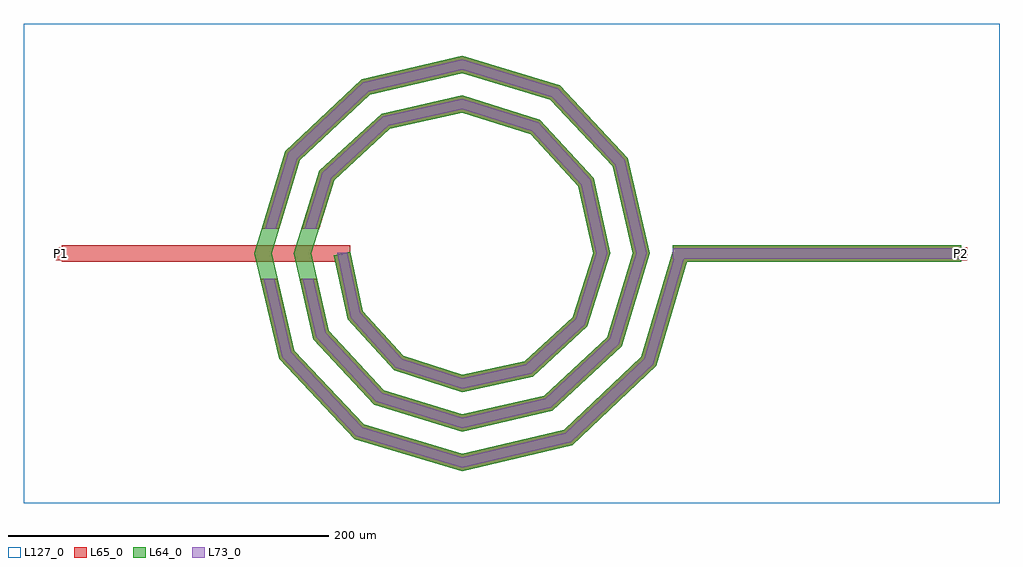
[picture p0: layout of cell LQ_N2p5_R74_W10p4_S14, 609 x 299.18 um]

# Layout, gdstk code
import gdstk
lib = gdstk.Library(unit=1e-6, precision=1e-09)
def R(c, l, rs):  # rectangles x0, y0, x1, y1
    for r in rs: c.add(gdstk.rectangle(r[:2], r[2:], *l))
def P(c, l, *ps):  # polygons
    for p in ps: c.add(gdstk.Polygon(p, *l))
L64_0 = (64, 0)
L65_0 = (65, 0)
L73_0 = (73, 0)
L127_0 = (127, 0)

lq_n2p5_r74_w10p4_s14 = lib.new_cell('LQ_N2p5_R74_W10p4_S14')
R(lq_n2p5_r74_w10p4_s14, L64_0, [(131.35,-5.2,311.35,5.2)])
P(lq_n2p5_r74_w10p4_s14, L64_0, [(-61.811,-35.997),(-36.566,-63.857),(0.255,-75.641),(39.064,-67.164),(69.191,-39.667),(81.811,0.237),(72.516,42.134),(42.766,74.525),(0.221,87.98),(-45.206,77.866),(-79.861,45.863),(-94.15,0.207),(-83.216,-48.279),(-48.959,-85.198),(0.195,-100.32),(51.354,-88.564),(90.535,-52.053),(106.489,0.185),(93.913,54.43),(55.147,95.874),(0.175,112.659),(-57.507,99.261),(-101.212,58.24),(-118.829,0.166),(-104.608,-60.584),(-61.332,-106.551),(0.158,-124.999),(63.663,-109.955),(111.891,-64.423),(131.567,1.488),(141.533,-1.488),(121.058,-70.07),(68.774,-119.432),(0.158,-135.762),(-66.992,-115.711),(-114.092,-65.682),(-129.591,0.166),(-110.364,63.914),(-62.59,108.753),(0.175,123.421),(60.836,105.015),(103.414,59.497),(117.251,0.185),(99.667,-57.76),(56.403,-98.075),(0.195,-111.08),(-54.684,-94.318),(-92.737,-53.307),(-104.91,0.207),(-88.967,51.61),(-50.211,87.4),(0.221,98.739),(48.537,83.616),(82.064,47.112),(92.569,0.237),(78.264,-45.466),(44.012,-76.728),(0.255,-86.398),(-42.397,-72.911),(-71.394,-40.91),(-79.934,-1.09),(-69.765,1.09)])
R(lq_n2p5_r74_w10p4_s14, L65_0, [(-249.65,-5.2,-69.65,5.2), (131.35,-5.2,311.35,5.2), (-253.65,-4,-245.65,4), (307.35,-4,315.35,4)])
P(lq_n2p5_r74_w10p4_s14, L65_0, [(-104.608,-60.584),(-61.332,-106.551),(0.158,-124.999),(63.663,-109.955),(111.891,-64.423),(131.567,1.488),(141.533,-1.488),(121.059,-70.071),(68.774,-119.432),(0.158,-135.762),(-66.992,-115.711),(-114.092,-65.682),(-125.88,-15.6),(-115.196,-15.6)],
  [(-83.216,-48.279),(-48.959,-85.198),(0.195,-100.32),(51.354,-88.564),(90.535,-52.054),(106.489,0.185),(93.913,54.43),(55.147,95.874),(0.175,112.659),(-57.507,99.261),(-101.212,58.24),(-114.073,15.6),(-124.936,15.6),(-110.364,63.914),(-62.59,108.753),(0.175,123.421),(60.836,105.016),(103.414,59.497),(117.251,0.185),(99.667,-57.76),(56.403,-98.075),(0.195,-111.08),(-54.684,-94.318),(-92.738,-53.307),(-101.314,-15.6),(-90.649,-15.6)],
  [(-36.566,-63.857),(0.255,-75.642),(39.064,-67.164),(69.191,-39.667),(81.811,0.237),(72.516,42.134),(42.766,74.525),(0.221,87.98),(-45.206,77.866),(-79.861,45.863),(-89.247,15.6),(-100.136,15.6),(-88.967,51.61),(-50.211,87.4),(0.221,98.739),(48.537,83.616),(82.064,47.113),(92.569,0.237),(78.264,-45.466),(44.012,-76.729),(0.255,-86.398),(-42.397,-72.911),(-71.394,-40.91),(-79.934,-1.09),(-69.765,1.09),(-61.811,-35.997)])
R(lq_n2p5_r74_w10p4_s14, L73_0, [(131.35,-3.2,311.35,3.2)])
P(lq_n2p5_r74_w10p4_s14, L73_0, [(-106.432,-61.565),(-62.42,-108.313),(0.098,-127.068),(64.646,-111.778),(113.654,-65.509),(133.484,0.915),(139.616,0.915),(119.296,-68.984),(67.791,-117.61),(0.098,-133.692),(-65.903,-113.95),(-112.268,-64.702),(-123.826,-15.6),(-117.251,-15.6)],
  [(-85.047,-49.246),(-50.06,-86.952),(0.12,-102.389),(52.325,-90.394),(92.291,-53.151),(108.559,0.114),(95.74,55.404),(56.241,97.632),(0.108,114.729),(-58.484,101.086),(-102.972,59.331),(-116.162,15.6),(-122.847,15.6),(-108.604,62.823),(-61.612,106.928),(0.108,121.351),(59.742,103.257),(101.587,58.522),(115.181,0.114),(97.911,-56.662),(55.432,-96.246),(0.12,-109.011),(-53.583,-92.564),(-90.906,-52.34),(-99.263,-15.6),(-92.7,-15.6)],
  [(-37.687,-65.598),(0.157,-77.71),(40.016,-69.003),(70.936,-40.782),(83.88,0.146),(74.352,43.091),(43.876,76.274),(0.136,90.049),(-46.168,79.7),(-81.612,46.968),(-91.341,15.6),(-98.042,15.6),(-87.216,50.505),(-49.248,85.567),(0.136,96.67),(47.427,81.868),(80.228,46.155),(90.5,0.146),(76.519,-44.351),(43.061,-74.889),(0.157,-84.329),(-41.276,-71.17),(-69.551,-39.965),(-77.979,0.671),(-71.721,0.671),(-63.654,-36.942)])
R(lq_n2p5_r74_w10p4_s14, L127_0, [(-273.65,-155.762,335.35,143.421)])
lq_n2p5_r74_w10p4_s14.add(gdstk.Label('P2', (311.35,0), layer=65, texttype=0))
lq_n2p5_r74_w10p4_s14.add(gdstk.Label('P1', (-249.65,0), layer=65, texttype=0))
lq_n2p5_r74_w10p4_s14.add(gdstk.Label('P2', (315.35,0), layer=145, texttype=0))
lq_n2p5_r74_w10p4_s14.add(gdstk.Label('P1', (-253.65,0), layer=145, texttype=0))

lib.write_gds('LQ_N2p5_R74_W10p4_S14.gds')
